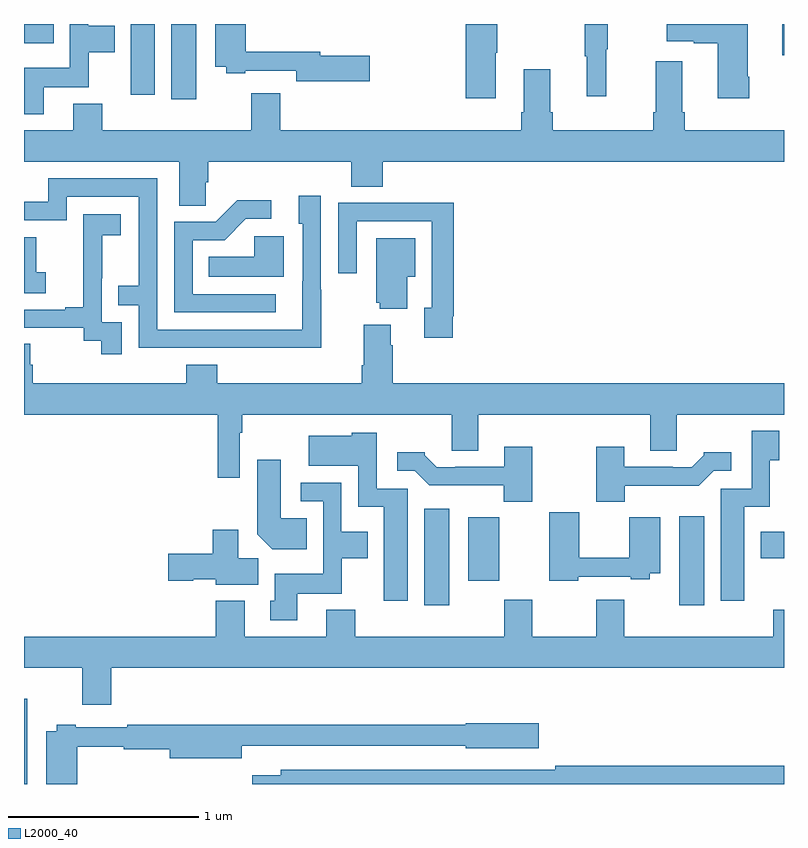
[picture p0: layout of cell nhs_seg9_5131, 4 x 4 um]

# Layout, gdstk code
import gdstk
lib = gdstk.Library(unit=1e-6, precision=1e-09)
def R(c, l, rs):  # rectangles x0, y0, x1, y1
    for r in rs: c.add(gdstk.rectangle(r[:2], r[2:], *l))
def P(c, l, *ps):  # polygons
    for p in ps: c.add(gdstk.Polygon(p, *l))
L2000_40 = (2000, 40)

nhs_seg9_5131 = lib.new_cell('nhs_seg9_5131')
R(nhs_seg9_5131, L2000_40, [(409,1170.5,409.018,1170.949), (411.107,1171.44,411.238,1171.948), (412.448,1171.44,412.579,1171.909), (412.877,1171.688,413,1171.828), (409.775,1174.104,409.906,1174.5), (409.562,1174.128,409.687,1174.5), (412.991,1174.335,413,1174.5), (409,1174.4,409.157,1174.5)])
P(nhs_seg9_5131, L2000_40, [(412.818,1174.222),(412.81,1174.222),(412.81,1174.5),(412.383,1174.5),(412.383,1174.409),(412.526,1174.409),(412.526,1174.399),(412.652,1174.399),(412.652,1174.11),(412.818,1174.11)],
  [(410.821,1174.334),(410.56,1174.334),(410.56,1174.355),(410.168,1174.355),(410.168,1174.5),(410.006,1174.5),(410.006,1174.274),(410.064,1174.274),(410.064,1174.242),(410.164,1174.242),(410.164,1174.254),(410.432,1174.254),(410.432,1174.199),(410.821,1174.199)],
  [(409.105,1174.166),(409.341,1174.166),(409.341,1174.352),(409.477,1174.352),(409.477,1174.492),(409.338,1174.492),(409.338,1174.5),(409.242,1174.5),(409.242,1174.27),(409,1174.27),(409,1174.026),(409.105,1174.026)],
  [(412.064,1174.368),(412.072,1174.368),(412.072,1174.5),(411.951,1174.5),(411.951,1174.331),(411.962,1174.331),(411.962,1174.119),(412.064,1174.119)],
  [(411.484,1174.348),(411.492,1174.348),(411.492,1174.5),(411.326,1174.5),(411.326,1174.11),(411.484,1174.11)],
  [(410.723,1173.643),(410.888,1173.643),(410.888,1173.776),(413,1173.776),(413,1173.94),(412.478,1173.94),(412.478,1174.036),(412.465,1174.036),(412.465,1174.303),(412.325,1174.303),(412.325,1174.036),(412.313,1174.036),(412.313,1173.94),(411.782,1173.94),(411.782,1174.036),(411.769,1174.036),(411.769,1174.261),(411.629,1174.261),(411.629,1174.036),(411.617,1174.036),(411.617,1173.94),(410.348,1173.94),(410.348,1174.135),(410.195,1174.135),(410.195,1173.94),(409.412,1173.94),(409.412,1174.081),(409.259,1174.081),(409.259,1173.94),(409,1173.94),(409,1173.776),(409.817,1173.776),(409.817,1173.544),(409.956,1173.544),(409.956,1173.667),(409.97,1173.667),(409.97,1173.776),(410.723,1173.776)],
  [(410.565,1173.101),(410.562,1173.101),(410.562,1173.595),(410.447,1173.595),(410.447,1173.45),(410.466,1173.45),(410.466,1173.146),(410.465,1173.146),(410.465,1172.892),(409.701,1172.892),(409.701,1173.687),(409.127,1173.687),(409.127,1173.564),(409,1173.564),(409,1173.468),(409.224,1173.468),(409.224,1173.591),(409.605,1173.591),(409.605,1173.122),(409.495,1173.122),(409.495,1173.021),(409.605,1173.021),(409.605,1172.796),(410.101,1172.796),(410.101,1172.795),(410.565,1172.795)],
  [(410.326,1173.078),(409.887,1173.078),(409.887,1173.363),(410.056,1173.363),(410.167,1173.474),(410.302,1173.474),(410.302,1173.572),(410.123,1173.572),(410.01,1173.459),(409.791,1173.459),(409.791,1172.982),(410.326,1172.982)],
  [(411.256,1172.962),(411.263,1172.962),(411.263,1173.56),(410.971,1173.56),(410.971,1173.558),(410.655,1173.558),(410.655,1173.189),(410.751,1173.189),(410.751,1173.462),(411.147,1173.462),(411.147,1173.006),(411.107,1173.006),(411.107,1172.85),(411.256,1172.85)],
  [(409.515,1172.931),(409.41,1172.931),(409.41,1173.161),(409.412,1173.161),(409.412,1173.389),(409.51,1173.389),(409.51,1173.499),(409.312,1173.499),(409.312,1173.293),(409.313,1173.293),(409.313,1173.01),(409.217,1173.01),(409.217,1172.997),(409,1172.997),(409,1172.901),(409.314,1172.901),(409.314,1172.833),(409.407,1172.833),(409.407,1172.763),(409.515,1172.763)],
  [(410.368,1173.382),(410.211,1173.382),(410.211,1173.274),(409.972,1173.274),(409.972,1173.17),(410.368,1173.17)],
  [(409.114,1173.193),(409.065,1173.193),(409.065,1173.378),(409,1173.378),(409,1173.084),(409.114,1173.084)],
  [(411.016,1173.17),(411.058,1173.17),(411.058,1173.373),(410.855,1173.373),(410.855,1173.033),(410.873,1173.033),(410.873,1173.002),(411.016,1173.002)],
  [(410.136,1172.348),(410.149,1172.348),(410.149,1172.444),(411.251,1172.444),(411.251,1172.254),(411.391,1172.254),(411.391,1172.444),(412.295,1172.444),(412.295,1172.254),(412.435,1172.254),(412.435,1172.444),(413,1172.444),(413,1172.608),(410.942,1172.608),(410.942,1172.81),(410.929,1172.81),(410.929,1172.917),(410.789,1172.917),(410.789,1172.704),(410.777,1172.704),(410.777,1172.608),(410.018,1172.608),(410.018,1172.707),(409.853,1172.707),(409.853,1172.608),(409.046,1172.608),(409.046,1172.706),(409.033,1172.706),(409.033,1172.816),(409,1172.816),(409,1172.444),(410.02,1172.444),(410.02,1172.112),(410.136,1172.112)],
  [(412.792,1171.958),(412.926,1171.958),(412.926,1172.203),(412.974,1172.203),(412.974,1172.359),(412.83,1172.359),(412.83,1172.055),(412.667,1172.055),(412.667,1171.464),(412.792,1171.464)],
  [(411.019,1172.055),(410.856,1172.055),(410.856,1172.35),(410.724,1172.35),(410.724,1172.332),(410.499,1172.332),(410.499,1172.174),(410.76,1172.174),(410.76,1171.958),(410.894,1171.958),(410.894,1171.464),(411.019,1171.464)],
  [(412.162,1172.07),(412.551,1172.07),(412.629,1172.148),(412.723,1172.148),(412.723,1172.245),(412.578,1172.245),(412.578,1172.23),(412.514,1172.166),(412.415,1172.166),(412.415,1172.169),(412.159,1172.169),(412.159,1172.275),(412.012,1172.275),(412.012,1171.985),(412.162,1171.985)],
  [(411.675,1172.275),(411.527,1172.275),(411.527,1172.169),(411.271,1172.169),(411.271,1172.166),(411.172,1172.166),(411.108,1172.23),(411.108,1172.245),(410.964,1172.245),(410.964,1172.148),(411.057,1172.148),(411.133,1172.072),(411.525,1172.072),(411.525,1171.985),(411.675,1171.985)],
  [(410.489,1171.9),(410.35,1171.9),(410.35,1172.206),(410.228,1172.206),(410.228,1171.814),(410.306,1171.736),(410.489,1171.736)],
  [(410.437,1171.502),(410.673,1171.502),(410.673,1171.688),(410.809,1171.688),(410.809,1171.828),(410.67,1171.828),(410.67,1172.085),(410.457,1172.085),(410.457,1171.989),(410.574,1171.989),(410.574,1171.606),(410.321,1171.606),(410.321,1171.464),(410.297,1171.464),(410.297,1171.362),(410.437,1171.362)],
  [(411.918,1171.59),(412.193,1171.59),(412.193,1171.578),(412.293,1171.578),(412.293,1171.61),(412.348,1171.61),(412.348,1171.903),(412.186,1171.903),(412.186,1171.691),(411.922,1171.691),(411.922,1171.93),(411.764,1171.93),(411.764,1171.57),(411.918,1171.57)],
  [(411.502,1171.796),(411.5,1171.796),(411.5,1171.903),(411.338,1171.903),(411.338,1171.569),(411.502,1171.569)],
  [(410.233,1171.688),(410.128,1171.688),(410.128,1171.837),(409.994,1171.837),(409.994,1171.712),(409.758,1171.712),(409.758,1171.57),(409.89,1171.57),(409.89,1171.577),(410.01,1171.577),(410.01,1171.55),(410.233,1171.55)],
  [(409.46,1171.112),(413,1171.112),(413,1171.417),(412.943,1171.417),(412.943,1171.276),(412.159,1171.276),(412.159,1171.471),(412.012,1171.471),(412.012,1171.276),(411.675,1171.276),(411.675,1171.471),(411.527,1171.471),(411.527,1171.276),(410.744,1171.276),(410.744,1171.417),(410.591,1171.417),(410.591,1171.276),(410.161,1171.276),(410.161,1171.465),(410.009,1171.465),(410.009,1171.276),(409,1171.276),(409,1171.112),(409.307,1171.112),(409.307,1170.918),(409.46,1170.918)],
  [(409.28,1170.697),(409.524,1170.697),(409.524,1170.682),(409.766,1170.682),(409.766,1170.635),(410.146,1170.635),(410.146,1170.702),(411.324,1170.702),(411.324,1170.689),(411.709,1170.689),(411.709,1170.819),(411.324,1170.819),(411.324,1170.811),(409.543,1170.811),(409.543,1170.798),(409.273,1170.798),(409.273,1170.811),(409.173,1170.811),(409.173,1170.778),(409.118,1170.778),(409.118,1170.5),(409.28,1170.5)],
  [(413,1170.596),(411.796,1170.596),(411.796,1170.576),(410.351,1170.576),(410.351,1170.547),(410.202,1170.547),(410.202,1170.5),(413,1170.5)])

lib.write_gds('nhs_seg9_5131.gds')
